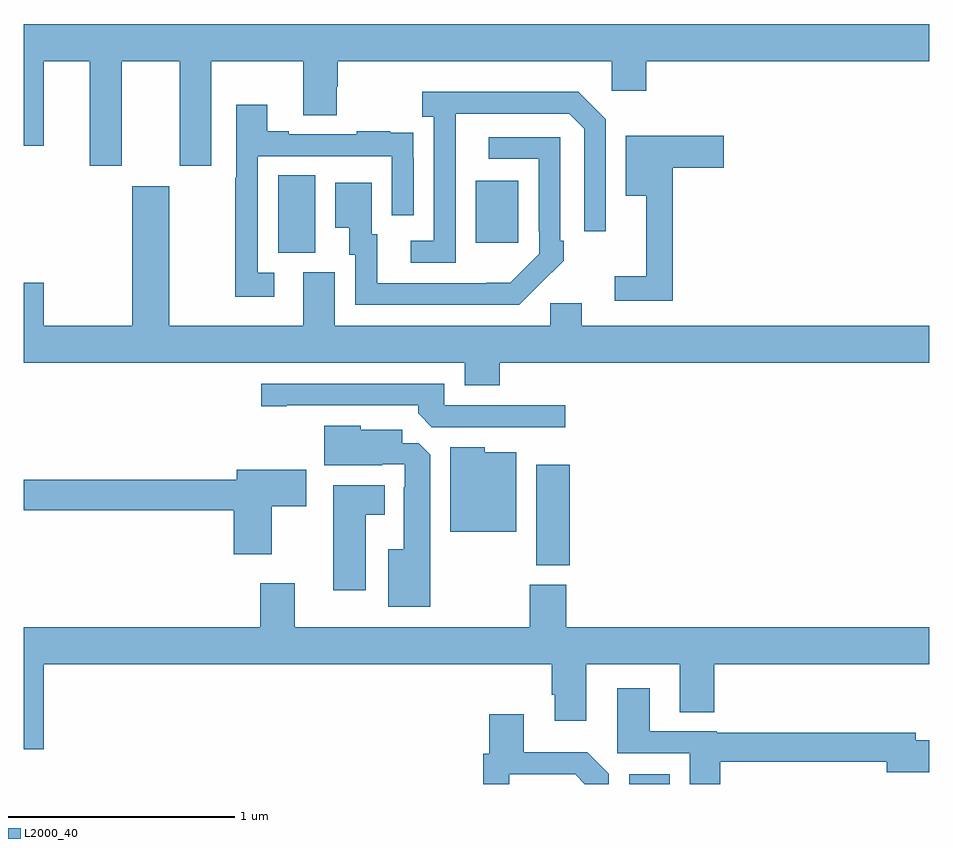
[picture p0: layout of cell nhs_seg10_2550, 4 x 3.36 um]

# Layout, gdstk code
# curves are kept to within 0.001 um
import gdstk
lib = gdstk.Library(unit=1e-6, precision=1e-09)
def R(c, l, rs):  # rectangles x0, y0, x1, y1
    for r in rs: c.add(gdstk.rectangle(r[:2], r[2:], *l))
def P(c, l, *ps):  # polygons
    for p in ps: c.add(gdstk.Polygon(p, *l))
L2000_40 = (2000, 40)

nhs_seg10_2550 = lib.new_cell('nhs_seg10_2550')
R(nhs_seg10_2550, L2000_40, [(251.675,1254.5,251.854,1254.544), (251.264,1255.465,251.411,1255.909), (250.124,1256.845,250.288,1257.188), (250.997,1256.889,251.185,1257.163)])
P(nhs_seg10_2550, L2000_40, [(249.433,1257.692),(249.689,1257.692),(249.689,1257.231),(249.829,1257.231),(249.829,1257.692),(250.235,1257.692),(250.235,1257.454),(250.383,1257.454),(250.383,1257.579),(250.388,1257.579),(250.388,1257.692),(251.598,1257.692),(251.598,1257.561),(251.75,1257.561),(251.75,1257.692),(253,1257.692),(253,1257.856),(249,1257.856),(249,1257.318),(249.088,1257.318),(249.088,1257.692),(249.293,1257.692),(249.293,1257.231),(249.433,1257.231)],
  [(250.908,1257.259),(250.909,1257.459),(251.409,1257.459),(251.475,1257.393),(251.475,1256.94),(251.571,1256.94),(251.571,1257.435),(251.45,1257.556),(250.761,1257.556),(250.761,1257.446),(250.812,1257.446),(250.812,1256.898),(250.71,1256.898),(250.71,1256.802),(250.908,1256.802)],
  [(250.108,1256.757),(250.035,1256.757),(250.035,1257.273),(250.626,1257.273),(250.626,1257.012),(250.722,1257.012),(250.722,1257.266),(250.721,1257.266),(250.721,1257.375),(250.619,1257.375),(250.619,1257.382),(250.471,1257.382),(250.471,1257.369),(250.171,1257.369),(250.171,1257.382),(250.075,1257.382),(250.075,1257.499),(249.939,1257.499),(249.939,1257.176),(249.934,1257.176),(249.934,1256.652),(250.108,1256.652)],
  [(251.867,1257.221),(252.091,1257.221),(252.091,1257.363),(251.66,1257.363),(251.66,1257.098),(251.75,1257.098),(251.75,1256.743),(251.61,1256.743),(251.61,1256.634),(251.867,1256.634)],
  [(251.279,1256.707),(251.28,1256.706),(251.385,1256.811),(251.385,1256.899),(251.37,1256.899),(251.37,1257.357),(251.055,1257.357),(251.055,1257.261),(251.274,1257.261),(251.274,1256.941),(251.277,1256.941),(251.277,1256.841),(251.149,1256.713),(250.561,1256.712),(250.561,1256.928),(250.537,1256.928),(250.537,1257.154),(250.376,1257.154),(250.376,1256.957),(250.439,1256.957),(250.439,1256.838),(250.464,1256.838),(250.464,1256.616),(251.188,1256.616)],
  [(251.102,1256.36),(253,1256.36),(253,1256.524),(251.464,1256.524),(251.464,1256.622),(251.325,1256.622),(251.325,1256.524),(250.375,1256.524),(250.375,1256.76),(250.235,1256.76),(250.235,1256.524),(249.643,1256.524),(249.643,1257.139),(249.479,1257.139),(249.479,1256.524),(249.088,1256.524),(249.088,1256.713),(249,1256.713),(249,1256.36),(250.949,1256.36),(250.949,1256.261),(251.102,1256.261)],
  [(251.392,1256.172),(250.857,1256.172),(250.857,1256.268),(250.05,1256.268),(250.05,1256.167),(250.162,1256.167),(250.162,1256.172),(250.742,1256.172),(250.742,1256.138),(250.803,1256.076),(251.392,1256.076)],
  [(250.795,1255.955),(250.746,1256.004),(250.672,1256.004),(250.672,1256.065),(250.488,1256.065),(250.488,1256.083),(250.328,1256.083),(250.328,1255.907),(250.583,1255.907),(250.583,1255.911),(250.683,1255.911),(250.683,1255.811),(250.679,1255.811),(250.679,1255.537),(250.61,1255.537),(250.61,1255.283),(250.795,1255.283)],
  [(251.176,1255.966),(251.037,1255.966),(251.037,1255.987),(250.883,1255.987),(250.883,1255.613),(251.176,1255.613)],
  [(250.096,1255.726),(250.249,1255.726),(250.249,1255.888),(249.941,1255.888),(249.941,1255.844),(249,1255.844),(249,1255.708),(249.929,1255.708),(249.929,1255.515),(250.096,1255.515)],
  [(250.51,1255.688),(250.594,1255.688),(250.594,1255.819),(250.367,1255.819),(250.367,1255.356),(250.51,1255.356)],
  [(249.088,1255.028),(251.333,1255.028),(251.333,1254.895),(251.345,1254.895),(251.345,1254.78),(251.485,1254.78),(251.485,1255.028),(251.897,1255.028),(251.897,1254.817),(252.05,1254.817),(252.05,1255.028),(253,1255.028),(253,1255.192),(251.396,1255.192),(251.396,1255.38),(251.236,1255.38),(251.236,1255.192),(250.198,1255.192),(250.198,1255.387),(250.046,1255.387),(250.046,1255.192),(249,1255.192),(249,1254.654),(249.088,1254.654)],
  [(252.077,1254.598),(252.812,1254.598),(252.812,1254.551),(253,1254.551),(253,1254.693),(252.94,1254.693),(252.94,1254.727),(252.06,1254.727),(252.06,1254.732),(251.764,1254.732),(251.764,1254.922),(251.621,1254.922),(251.621,1254.636),(251.942,1254.636),(251.942,1254.5),(252.077,1254.5)],
  [(251.145,1254.543),(251.436,1254.543),(251.479,1254.5),(251.583,1254.5),(251.583,1254.546),(251.489,1254.64),(251.209,1254.64),(251.209,1254.808),(251.057,1254.808),(251.057,1254.633),(251.029,1254.633),(251.029,1254.5),(251.145,1254.5)])

lib.write_gds('nhs_seg10_2550.gds')
